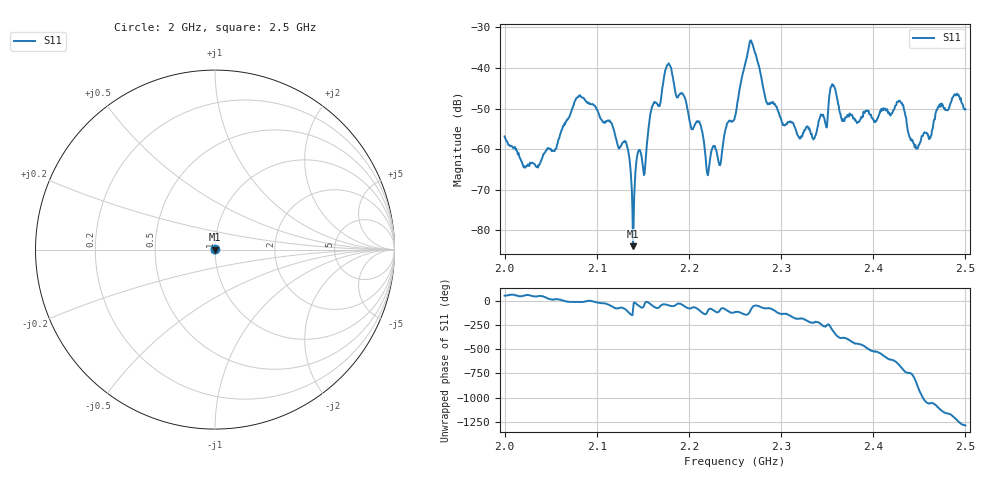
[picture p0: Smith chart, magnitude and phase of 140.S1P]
! C:\Users\rflab\Downloads\dp2_kdzw\140.S1P
! Touchstone 1.1 file saved by VNA.EXE V1.65 (www.ke5fx.com/gpib/readme.htm)
! 12/12/2024 6:56:10 PM
!  Source: HEWLETT PACKARD,8753D,0,6.14
!  Min freq: 2.000000E+009 Hz
!  Max freq: 2.500000E+009 Hz
!  Points: 801
!  Params: S21
# GHZ S MA R 50
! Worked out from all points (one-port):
!   801 points, 2 GHz to 2.5 GHz, reference 50 ohm
!   lowest |S11| = -83.9 dB at 2.139 GHz (marker M1), VSWR 1.00, Z = 50 - j0.00639 ohm
!   |S11| at or under -10 dB: start of sweep to end of sweep
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2  0.001438 51.3
2.035625  0.000615 45.4
2.0625  0.001762 4.2
2.0825  0.004482 -14.6
2.125  0.001065 -74.6
2.133125  0.001065 -106.5
2.139375  6.4e-05 -86.7
2.145  0.000941 -48.8
2.151875  0.000499 -35.0
2.159375  0.0031 -43.1
2.175625  0.01025 -40.7
2.1875  0.004364 -33.9
2.211875  0.002078 -102.6
2.220625  0.000478 -105.6
2.23375  0.000635 -97.2
2.25  0.002539 -119.8
2.2675  0.02186 -88.3
2.284375  0.003748 -79.5
2.3125  0.002137 -170.4
2.33625  0.001367 135.5
2.35625  0.006073 48.8
2.36625  0.002228 -23.9
2.375  0.002704 -53.7
2.428125  0.003938 57.5
2.4375  0.001692 -23.3
2.4475  0.001044 -144.9
2.4725  0.003326 -37.4
2.5  0.003102 154.8
